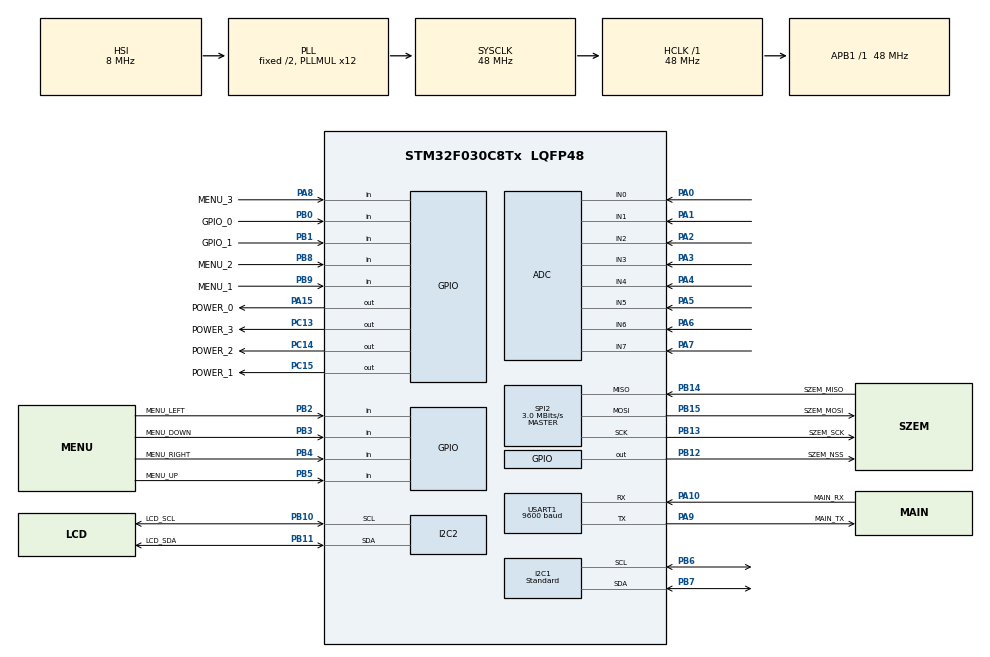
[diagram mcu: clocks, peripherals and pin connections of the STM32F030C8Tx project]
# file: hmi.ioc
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I2C1.I2C_Speed_Mode=I2C_Standard
I2C1.Timing=0x20303E5D
I2C2.Timing=0x20303E5D
Mcu.Family=STM32F0
Mcu.Name=STM32F030C8Tx
Mcu.Package=LQFP48
NVIC.TIM6_IRQn=true\:0\:0\:false\:false\:true\:true
NVIC.USART1_IRQn=true\:0\:0\:false\:false\:true\:true
PA0.Mode=IN0
PA0.Signal=ADC_IN0
PA1.Mode=IN1
PA1.Signal=ADC_IN1
PA10.GPIO_Label=MAIN_RX
PA10.GPIO_PuPd=GPIO_PULLUP
PA10.Mode=Asynchronous
PA10.Signal=USART1_RX
PA11.Signal=USART1_CTS
PA12.Signal=USART1_RTS
PA13.GPIO_Label=PRG_SWDIO
PA13.Mode=Serial_Wire
PA13.Signal=SYS_SWDIO
PA14.GPIO_Label=PRG_SWCLK
PA14.Mode=Serial_Wire
PA14.Signal=SYS_SWCLK
PA15.GPIO_Label=POWER_0
PA15.Signal=GPIO_Output
PA2.Mode=IN2
PA2.Signal=ADC_IN2
PA3.Mode=IN3
PA3.Signal=ADC_IN3
PA4.Mode=IN4
PA4.Signal=ADC_IN4
PA5.Mode=IN5
PA5.Signal=ADC_IN5
PA6.Mode=IN6
PA6.Signal=ADC_IN6
PA7.Mode=IN7
PA7.Signal=ADC_IN7
PA8.GPIO_Label=MENU_3
PA8.Signal=GPIO_Input
PA9.GPIO_Label=MAIN_TX
PA9.Mode=Asynchronous
PA9.Signal=USART1_TX
PB0.GPIO_Label=GPIO_0
PB0.Signal=GPIO_Input
PB1.GPIO_Label=GPIO_1
PB1.Signal=GPIO_Input
PB10.GPIO_Label=LCD_SCL
PB10.GPIO_PuPdOD=GPIO_PULLUP
PB10.Mode=I2C
PB10.Signal=I2C2_SCL
PB11.GPIO_Label=LCD_SDA
PB11.GPIO_PuPdOD=GPIO_PULLUP
PB11.Mode=I2C
PB11.Signal=I2C2_SDA
PB12.GPIO_Label=SZEM_NSS
PB12.Signal=GPIO_Output
PB13.GPIO_Label=SZEM_SCK
PB13.Mode=Full_Duplex_Master
PB13.Signal=SPI2_SCK
PB14.GPIO_Label=SZEM_MISO
PB14.Mode=Full_Duplex_Master
PB14.Signal=SPI2_MISO
PB15.GPIO_Label=SZEM_MOSI
PB15.Mode=Full_Duplex_Master
PB15.Signal=SPI2_MOSI
PB2.GPIO_Label=MENU_LEFT
PB2.Signal=GPIO_Input
PB3.GPIO_Label=MENU_DOWN
PB3.Signal=GPIO_Input
PB4.GPIO_Label=MENU_RIGHT
PB4.Signal=GPIO_Input
PB5.GPIO_Label=MENU_UP
PB5.Signal=GPIO_Input
PB6.Mode=I2C
PB6.Signal=I2C1_SCL
PB7.Mode=I2C
PB7.Signal=I2C1_SDA
PB8.GPIO_Label=MENU_2
PB8.Signal=GPIO_Input
PB9.GPIO_Label=MENU_1
PB9.Signal=GPIO_Input
PC13.GPIO_Label=POWER_3
PC13.Signal=GPIO_Output
PC14-OSC32_IN.GPIO_Label=POWER_2
PC14-OSC32_IN.Signal=GPIO_Output
PC15-OSC32_OUT.GPIO_Label=POWER_1
PC15-OSC32_OUT.Signal=GPIO_Output
PF0-OSC_IN.Mode=HSE-External-Oscillator
PF0-OSC_IN.Signal=RCC_OSC_IN
PF1-OSC_OUT.Mode=HSE-External-Oscillator
PF1-OSC_OUT.Signal=RCC_OSC_OUT
ProjectManager.HeapSize=0x200
ProjectManager.StackSize=0x400
ProjectManager.TargetToolchain=TrueSTUDIO
RCC.AHBFreq_Value=48000000
RCC.APB1Freq_Value=48000000
RCC.APB1TimFreq_Value=48000000
RCC.HCLKFreq_Value=48000000
RCC.I2c1ClockSelection=RCC_I2C1CLKSOURCE_SYSCLK
RCC.PLLMUL=RCC_PLL_MUL12
RCC.SYSCLKFreq_VALUE=48000000
RCC.SYSCLKSource=RCC_SYSCLKSOURCE_PLLCLK
SPI2.BaudRatePrescaler=SPI_BAUDRATEPRESCALER_16
SPI2.CalculateBaudRate=3.0 MBits/s
SPI2.DataSize=SPI_DATASIZE_8BIT
SPI2.Direction=SPI_DIRECTION_2LINES
SPI2.Mode=SPI_MODE_MASTER
SPI2.NSSPMode=SPI_NSS_PULSE_DISABLE
SPI2.VirtualType=VM_MASTER
TIM6.AutoReloadPreload=TIM_AUTORELOAD_PRELOAD_ENABLE
TIM6.Period=15000
TIM6.Prescaler=16
USART1.BaudRate=9600
USART1.VirtualMode-Asynchronous=VM_ASYNC
VP_TIM6_VS_ClockSourceINT.Mode=Enable_Timer
board=hmi

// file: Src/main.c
/**
  ******************************************************************************
  * File Name          : main.c
  * Description        : Main program body
  ******************************************************************************
  ** This notice applies to any and all portions of this file
  * that are not between comment pairs USER CODE BEGIN and
  * USER CODE END. Other portions of this file, whether
  * inserted by the user or by software development tools
  * are owned by their respective copyright owners.
  *
  * COPYRIGHT(c) 2017 STMicroelectronics
  *
  * Redistribution and use in source and binary forms, with or without modification,
  * are permitted provided that the following conditions are met:
  *   1. Redistributions of source code must retain the above copyright notice,
  *      this list of conditions and the following disclaimer.
  *   2. Redistributions in binary form must reproduce the above copyright notice,
  *      this list of conditions and the following disclaimer in the documentation
  *      and/or other materials provided with the distribution.
  *   3. Neither the name of STMicroelectronics nor the names of its contributors
  *      may be used to endorse or promote products derived from this software
  *      without specific prior written permission.
  *
  * THIS SOFTWARE IS PROVIDED BY THE COPYRIGHT HOLDERS AND CONTRIBUTORS "AS IS"
  * AND ANY EXPRESS OR IMPLIED WARRANTIES, INCLUDING, BUT NOT LIMITED TO, THE
  * IMPLIED WARRANTIES OF MERCHANTABILITY AND FITNESS FOR A PARTICULAR PURPOSE ARE
  * DISCLAIMED. IN NO EVENT SHALL THE COPYRIGHT HOLDER OR CONTRIBUTORS BE LIABLE
  * FOR ANY DIRECT, INDIRECT, INCIDENTAL, SPECIAL, EXEMPLARY, OR CONSEQUENTIAL
  * DAMAGES (INCLUDING, BUT NOT LIMITED TO, PROCUREMENT OF SUBSTITUTE GOODS OR
  * SERVICES; LOSS OF USE, DATA, OR PROFITS; OR BUSINESS INTERRUPTION) HOWEVER
  * CAUSED AND ON ANY THEORY OF LIABILITY, WHETHER IN CONTRACT, STRICT LIABILITY,
  * OR TORT (INCLUDING NEGLIGENCE OR OTHERWISE) ARISING IN ANY WAY OUT OF THE USE
  * OF THIS SOFTWARE, EVEN IF ADVISED OF THE POSSIBILITY OF SUCH DAMAGE.
  *
  ******************************************************************************
  */

#include "main.h"
#include "stm32f0xx_hal.h"

/* USER CODE BEGIN Includes */
#include "fonts.h"
#include "ssd1306.h"
#include "MAX7219.h"
#include "menu.h"
#include "uartmain.h"
#include "register_map.h"
#include "buttons.h"

#include <string.h>
/* USER CODE END Includes */

ADC_HandleTypeDef hadc;

I2C_HandleTypeDef hi2c1;
I2C_HandleTypeDef hi2c2;

SPI_HandleTypeDef hspi2;

TIM_HandleTypeDef htim6;

UART_HandleTypeDef huart1;

void SystemClock_Config(void);
static void MX_GPIO_Init(void);
static void MX_ADC_Init(void);
static void MX_USART1_UART_Init(void);
static void MX_I2C2_Init(void);
static void MX_I2C1_Init(void);
static void MX_TIM6_Init(void);
static void MX_SPI2_Init(void);

/* USER CODE BEGIN PFP */
/* Private function prototypes -----------------------------------------------*/

/* USER CODE END PFP */

/* USER CODE BEGIN 0 */
void HAL_TIM_PeriodElapsedCallback(TIM_HandleTypeDef *htim)
{
   if (htim->Instance==TIM6)
      {
	   	   DebounceButtons();
      }
}

/* USER CODE END 0 */

int main(void)
{

  /* MCU Configuration----------------------------------------------------------*/

  /* Reset of all peripherals, Initializes the Flash interface and the Systick. */
  HAL_Init();

  /* Configure the system clock */
  SystemClock_Config();

  /* Initialize all configured peripherals */
  MX_GPIO_Init();
  MX_ADC_Init();
  MX_USART1_UART_Init();
  MX_I2C2_Init();
  MX_I2C1_Init();
  MX_TIM6_Init();
  MX_SPI2_Init();

  /* USER CODE BEGIN 2 */
  //Hardware init
  HAL_GPIO_WritePin(SZEM_NSS_GPIO_Port,SZEM_NSS_Pin,1);
  HAL_TIM_Base_Start_IT(&htim6);

  //Initialize LCD display
  ssd1306_Init();
  ssd1306_Fill(Black);

  MenuDraw(0);
  ssd1306_UpdateScreen();

  //init global variables
  InitRegisters();

  //init uart
  uart_startReceiving();

  //Initialize LED matrices
  //InitMAX7219();

  /* USER CODE END 2 */

  /* Infinite loop */
  /* USER CODE BEGIN WHILE */

  while (1)
  {
	  ButtonHandler();

	  char buf [6];
	  sprintf(buf, "%ld", Timestamp);
	  //ssd1306_WriteErrorMsg(buf);

	  HAL_Delay(100);

  /* USER CODE END WHILE */

  }

}

/** System Clock Configuration
*/
void SystemClock_Config(void)
{

  RCC_OscInitTypeDef RCC_OscInitStruct;
  RCC_ClkInitTypeDef RCC_ClkInitStruct;
  RCC_PeriphCLKInitTypeDef PeriphClkInit;

    /**Initializes the CPU, AHB and APB busses clocks
    */
  RCC_OscInitStruct.OscillatorType = RCC_OSCILLATORTYPE_HSI|RCC_OSCILLATORTYPE_HSI14;
  RCC_OscInitStruct.HSIState = RCC_HSI_ON;
  RCC_OscInitStruct.HSI14State = RCC_HSI14_ON;
  RCC_OscInitStruct.HSICalibrationValue = 16;
  RCC_OscInitStruct.HSI14CalibrationValue = 16;
  RCC_OscInitStruct.PLL.PLLState = RCC_PLL_ON;
  RCC_OscInitStruct.PLL.PLLSource = RCC_PLLSOURCE_HSI;
  RCC_OscInitStruct.PLL.PLLMUL = RCC_PLL_MUL12;
  RCC_OscInitStruct.PLL.PREDIV = RCC_PREDIV_DIV1;
  if (HAL_RCC_OscConfig(&RCC_OscInitStruct) != HAL_OK)
  {
    _Error_Handler(__FILE__, __LINE__);
  }

    /**Initializes the CPU, AHB and APB busses clocks
    */
  RCC_ClkInitStruct.ClockType = RCC_CLOCKTYPE_HCLK|RCC_CLOCKTYPE_SYSCLK
                              |RCC_CLOCKTYPE_PCLK1;
  RCC_ClkInitStruct.SYSCLKSource = RCC_SYSCLKSOURCE_PLLCLK;
  RCC_ClkInitStruct.AHBCLKDivider = RCC_SYSCLK_DIV1;
  RCC_ClkInitStruct.APB1CLKDivider = RCC_HCLK_DIV1;

  if (HAL_RCC_ClockConfig(&RCC_ClkInitStruct, FLASH_LATENCY_1) != HAL_OK)
  {
    _Error_Handler(__FILE__, __LINE__);
  }

  PeriphClkInit.PeriphClockSelection = RCC_PERIPHCLK_USART1|RCC_PERIPHCLK_I2C1;
  PeriphClkInit.Usart1ClockSelection = RCC_USART1CLKSOURCE_PCLK1;
  PeriphClkInit.I2c1ClockSelection = RCC_I2C1CLKSOURCE_SYSCLK;
  if (HAL_RCCEx_PeriphCLKConfig(&PeriphClkInit) != HAL_OK)
  {
    _Error_Handler(__FILE__, __LINE__);
  }

    /**Configure the Systick interrupt time
    */
  HAL_SYSTICK_Config(HAL_RCC_GetHCLKFreq()/1000);

    /**Configure the Systick
    */
  HAL_SYSTICK_CLKSourceConfig(SYSTICK_CLKSOURCE_HCLK);

  /* SysTick_IRQn interrupt configuration */
  HAL_NVIC_SetPriority(SysTick_IRQn, 0, 0);
}

/* ADC init function */
static void MX_ADC_Init(void)
{

  ADC_ChannelConfTypeDef sConfig;

    /**Configure the global features of the ADC (Clock, Resolution, Data Alignment and number of conversion)
    */
  hadc.Instance = ADC1;
  hadc.Init.ClockPrescaler = ADC_CLOCK_ASYNC_DIV1;
  hadc.Init.Resolution = ADC_RESOLUTION_12B;
  hadc.Init.DataAlign = ADC_DATAALIGN_RIGHT;
  hadc.Init.ScanConvMode = ADC_SCAN_DIRECTION_FORWARD;
  hadc.Init.EOCSelection = ADC_EOC_SINGLE_CONV;
  hadc.Init.LowPowerAutoWait = DISABLE;
  hadc.Init.LowPowerAutoPowerOff = DISABLE;
  hadc.Init.ContinuousConvMode = DISABLE;
  hadc.Init.DiscontinuousConvMode = DISABLE;
  hadc.Init.ExternalTrigConv = ADC_SOFTWARE_START;
  hadc.Init.ExternalTrigConvEdge = ADC_EXTERNALTRIGCONVEDGE_NONE;
  hadc.Init.DMAContinuousRequests = DISABLE;
  hadc.Init.Overrun = ADC_OVR_DATA_PRESERVED;
  if (HAL_ADC_Init(&hadc) != HAL_OK)
  {
    _Error_Handler(__FILE__, __LINE__);
  }

    /**Configure for the selected ADC regular channel to be converted.
    */
  sConfig.Channel = ADC_CHANNEL_0;
  sConfig.Rank = ADC_RANK_CHANNEL_NUMBER;
  sConfig.SamplingTime = ADC_SAMPLETIME_1CYCLE_5;
  if (HAL_ADC_ConfigChannel(&hadc, &sConfig) != HAL_OK)
  {
    _Error_Handler(__FILE__, __LINE__);
  }

    /**Configure for the selected ADC regular channel to be converted.
    */
  sConfig.Channel = ADC_CHANNEL_1;
  if (HAL_ADC_ConfigChannel(&hadc, &sConfig) != HAL_OK)
  {
    _Error_Handler(__FILE__, __LINE__);
  }

    /**Configure for the selected ADC regular channel to be converted.
    */
  sConfig.Channel = ADC_CHANNEL_2;
  if (HAL_ADC_ConfigChannel(&hadc, &sConfig) != HAL_OK)
  {
    _Error_Handler(__FILE__, __LINE__);
  }

    /**Configure for the selected ADC regular channel to be converted.
    */
  sConfig.Channel = ADC_CHANNEL_3;
  if (HAL_ADC_ConfigChannel(&hadc, &sConfig) != HAL_OK)
  {
    _Error_Handler(__FILE__, __LINE__);
  }

    /**Configure for the selected ADC regular channel to be converted.
    */
  sConfig.Channel = ADC_CHANNEL_4;
  if (HAL_ADC_ConfigChannel(&hadc, &sConfig) != HAL_OK)
  {
    _Error_Handler(__FILE__, __LINE__);
  }

    /**Configure for the selected ADC regular channel to be converted.
    */
  sConfig.Channel = ADC_CHANNEL_5;
  if (HAL_ADC_ConfigChannel(&hadc, &sConfig) != HAL_OK)
  {
    _Error_Handler(__FILE__, __LINE__);
  }

    /**Configure for the selected ADC regular channel to be converted.
    */
  sConfig.Channel = ADC_CHANNEL_6;
  if (HAL_ADC_ConfigChannel(&hadc, &sConfig) != HAL_OK)
  {
    _Error_Handler(__FILE__, __LINE__);
  }

    /**Configure for the selected ADC regular channel to be converted.
    */
  sConfig.Channel = ADC_CHANNEL_7;
  if (HAL_ADC_ConfigChannel(&hadc, &sConfig) != HAL_OK)
  {
    _Error_Handler(__FILE__, __LINE__);
  }

}

/* I2C1 init function */
static void MX_I2C1_Init(void)
{

  hi2c1.Instance = I2C1;
  hi2c1.Init.Timing = 0x20303E5D;
  hi2c1.Init.OwnAddress1 = 0;
  hi2c1.Init.AddressingMode = I2C_ADDRESSINGMODE_7BIT;
  hi2c1.Init.DualAddressMode = I2C_DUALADDRESS_DISABLE;
  hi2c1.Init.OwnAddress2 = 0;
  hi2c1.Init.OwnAddress2Masks = I2C_OA2_NOMASK;
  hi2c1.Init.GeneralCallMode = I2C_GENERALCALL_DISABLE;
  hi2c1.Init.NoStretchMode = I2C_NOSTRETCH_DISABLE;
  if (HAL_I2C_Init(&hi2c1) != HAL_OK)
  {
    _Error_Handler(__FILE__, __LINE__);
  }

    /**Configure Analogue filter
    */
  if (HAL_I2CEx_ConfigAnalogFilter(&hi2c1, I2C_ANALOGFILTER_ENABLE) != HAL_OK)
  {
    _Error_Handler(__FILE__, __LINE__);
  }

    /**Configure Digital filter
    */
  if (HAL_I2CEx_ConfigDigitalFilter(&hi2c1, 0) != HAL_OK)
  {
    _Error_Handler(__FILE__, __LINE__);
  }

}

/* I2C2 init function */
static void MX_I2C2_Init(void)
{

  hi2c2.Instance = I2C2;
  hi2c2.Init.Timing = 0x20303E5D;
  hi2c2.Init.OwnAddress1 = 0;
  hi2c2.Init.AddressingMode = I2C_ADDRESSINGMODE_7BIT;
  hi2c2.Init.DualAddressMode = I2C_DUALADDRESS_DISABLE;
  hi2c2.Init.OwnAddress2 = 0;
  hi2c2.Init.OwnAddress2Masks = I2C_OA2_NOMASK;
  hi2c2.Init.GeneralCallMode = I2C_GENERALCALL_DISABLE;
  hi2c2.Init.NoStretchMode = I2C_NOSTRETCH_DISABLE;
  if (HAL_I2C_Init(&hi2c2) != HAL_OK)
  {
    _Error_Handler(__FILE__, __LINE__);
  }

    /**Configure Analogue filter
    */
  if (HAL_I2CEx_ConfigAnalogFilter(&hi2c2, I2C_ANALOGFILTER_ENABLE) != HAL_OK)
  {
    _Error_Handler(__FILE__, __LINE__);
  }

    /**Configure Digital filter
    */
  if (HAL_I2CEx_ConfigDigitalFilter(&hi2c2, 0) != HAL_OK)
  {
    _Error_Handler(__FILE__, __LINE__);
  }

}

/* SPI2 init function */
static void MX_SPI2_Init(void)
{

  /* SPI2 parameter configuration*/
  hspi2.Instance = SPI2;
  hspi2.Init.Mode = SPI_MODE_MASTER;
  hspi2.Init.Direction = SPI_DIRECTION_2LINES;
  hspi2.Init.DataSize = SPI_DATASIZE_8BIT;
  hspi2.Init.CLKPolarity = SPI_POLARITY_LOW;
  hspi2.Init.CLKPhase = SPI_PHASE_1EDGE;
  hspi2.Init.NSS = SPI_NSS_SOFT;
  hspi2.Init.BaudRatePrescaler = SPI_BAUDRATEPRESCALER_16;
  hspi2.Init.FirstBit = SPI_FIRSTBIT_MSB;
  hspi2.Init.TIMode = SPI_TIMODE_DISABLE;
  hspi2.Init.CRCCalculation = SPI_CRCCALCULATION_DISABLE;
  hspi2.Init.CRCPolynomial = 7;
  hspi2.Init.CRCLength = SPI_CRC_LENGTH_DATASIZE;
  hspi2.Init.NSSPMode = SPI_NSS_PULSE_DISABLE;
  if (HAL_SPI_Init(&hspi2) != HAL_OK)
  {
    _Error_Handler(__FILE__, __LINE__);
  }

}

/* TIM6 init function */
static void MX_TIM6_Init(void)
{

  htim6.Instance = TIM6;
  htim6.Init.Prescaler = 16;
  htim6.Init.CounterMode = TIM_COUNTERMODE_UP;
  htim6.Init.Period = 15000;
  htim6.Init.AutoReloadPreload = TIM_AUTORELOAD_PRELOAD_ENABLE;
  if (HAL_TIM_Base_Init(&htim6) != HAL_OK)
  {
    _Error_Handler(__FILE__, __LINE__);
  }

}

/* USART1 init function */
static void MX_USART1_UART_Init(void)
{

  huart1.Instance = USART1;
  huart1.Init.BaudRate = 9600;
  huart1.Init.WordLength = UART_WORDLENGTH_8B;
  huart1.Init.StopBits = UART_STOPBITS_1;
  huart1.Init.Parity = UART_PARITY_NONE;
  huart1.Init.Mode = UART_MODE_TX_RX;
  huart1.Init.HwFlowCtl = UART_HWCONTROL_NONE;
  huart1.Init.OverSampling = UART_OVERSAMPLING_16;
  huart1.Init.OneBitSampling = UART_ONE_BIT_SAMPLE_DISABLE;
  huart1.AdvancedInit.AdvFeatureInit = UART_ADVFEATURE_NO_INIT;
  if (HAL_UART_Init(&huart1) != HAL_OK)
  {
    _Error_Handler(__FILE__, __LINE__);
  }

}

/** Configure pins as
        * Analog
        * Input
        * Output
        * EVENT_OUT
        * EXTI
        * Free pins are configured automatically as Analog (this feature is enabled through
        * the Code Generation settings)
*/
static void MX_GPIO_Init(void)
{

  GPIO_InitTypeDef GPIO_InitStruct;

  /* GPIO Ports Clock Enable */
  __HAL_RCC_GPIOC_CLK_ENABLE();
  __HAL_RCC_GPIOF_CLK_ENABLE();
  __HAL_RCC_GPIOA_CLK_ENABLE();
  __HAL_RCC_GPIOB_CLK_ENABLE();

  /*Configure GPIO pin Output Level */
  HAL_GPIO_WritePin(GPIOC, POWER_3_Pin|POWER_2_Pin|POWER_1_Pin, GPIO_PIN_RESET);

  /*Configure GPIO pin Output Level */
  HAL_GPIO_WritePin(SZEM_NSS_GPIO_Port, SZEM_NSS_Pin, GPIO_PIN_RESET);

  /*Configure GPIO pin Output Level */
  HAL_GPIO_WritePin(POWER_0_GPIO_Port, POWER_0_Pin, GPIO_PIN_RESET);

  /*Configure GPIO pins : POWER_3_Pin POWER_2_Pin POWER_1_Pin */
  GPIO_InitStruct.Pin = POWER_3_Pin|POWER_2_Pin|POWER_1_Pin;
  GPIO_InitStruct.Mode = GPIO_MODE_OUTPUT_PP;
  GPIO_InitStruct.Pull = GPIO_NOPULL;
  GPIO_InitStruct.Speed = GPIO_SPEED_FREQ_LOW;
  HAL_GPIO_Init(GPIOC, &GPIO_InitStruct);

  /*Configure GPIO pins : GPIO_0_Pin GPIO_1_Pin MENU_LEFT_Pin MENU_DOWN_Pin
                           MENU_RIGHT_Pin MENU_UP_Pin MENU_2_Pin MENU_1_Pin */
  GPIO_InitStruct.Pin = GPIO_0_Pin|GPIO_1_Pin|MENU_LEFT_Pin|MENU_DOWN_Pin
                          |MENU_RIGHT_Pin|MENU_UP_Pin|MENU_2_Pin|MENU_1_Pin;
  GPIO_InitStruct.Mode = GPIO_MODE_INPUT;
  GPIO_InitStruct.Pull = GPIO_NOPULL;
  HAL_GPIO_Init(GPIOB, &GPIO_InitStruct);

  /*Configure GPIO pin : SZEM_NSS_Pin */
  GPIO_InitStruct.Pin = SZEM_NSS_Pin;
  GPIO_InitStruct.Mode = GPIO_MODE_OUTPUT_PP;
  GPIO_InitStruct.Pull = GPIO_NOPULL;
  GPIO_InitStruct.Speed = GPIO_SPEED_FREQ_LOW;
  HAL_GPIO_Init(SZEM_NSS_GPIO_Port, &GPIO_InitStruct);

  /*Configure GPIO pin : MENU_3_Pin */
  GPIO_InitStruct.Pin = MENU_3_Pin;
  GPIO_InitStruct.Mode = GPIO_MODE_INPUT;
  GPIO_InitStruct.Pull = GPIO_NOPULL;
  HAL_GPIO_Init(MENU_3_GPIO_Port, &GPIO_InitStruct);

  /*Configure GPIO pins : PF6 PF7 */
  GPIO_InitStruct.Pin = GPIO_PIN_6|GPIO_PIN_7;
  GPIO_InitStruct.Mode = GPIO_MODE_ANALOG;
  GPIO_InitStruct.Pull = GPIO_NOPULL;
  HAL_GPIO_Init(GPIOF, &GPIO_InitStruct);

  /*Configure GPIO pin : POWER_0_Pin */
  GPIO_InitStruct.Pin = POWER_0_Pin;
  GPIO_InitStruct.Mode = GPIO_MODE_OUTPUT_PP;
  GPIO_InitStruct.Pull = GPIO_NOPULL;
  GPIO_InitStruct.Speed = GPIO_SPEED_FREQ_LOW;
  HAL_GPIO_Init(POWER_0_GPIO_Port, &GPIO_InitStruct);

}

void _Error_Handler(char * file, int line)
{
  while(1)
  {
  }
}

/************************ (C) COPYRIGHT STMicroelectronics *****END OF FILE****/
